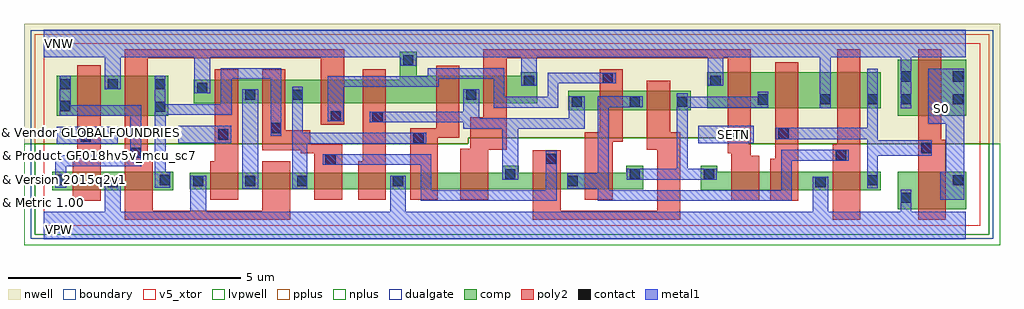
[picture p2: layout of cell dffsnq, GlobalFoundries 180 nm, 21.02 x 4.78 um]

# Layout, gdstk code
import gdstk
lib = gdstk.Library(unit=1e-6, precision=1e-09)
def R(c, l, rs):  # rectangles x0, y0, x1, y1
    for r in rs: c.add(gdstk.rectangle(r[:2], r[2:], *l))
def A(c, l, x, y, w, h, nx, ny, dx, dy):  # array of equal rectangles
    R(c, l, [(x+i*dx, y+j*dy, x+i*dx+w, y+j*dy+h) for i in range(nx) for j in range(ny)])
def P(c, l, *ps):  # polygons
    for p in ps: c.add(gdstk.Polygon(p, *l))
boundary = (0, 0)
nwell = (21, 0)
comp = (22, 0)
poly2 = (30, 0)
pplus = (31, 0)
nplus = (32, 0)
contact = (33, 0)
metal1 = (34, 0)
dualgate = (55, 0)
v5_xtor = (112, 1)
lvpwell = (204, 0)

dffsnq = lib.new_cell('dffsnq')
R(dffsnq, boundary, [(0.695,0.63,20.855,4.55)])
P(dffsnq, nwell, [(0.265,2.39),(0.265,4.98),(21.285,4.98),(21.285,2.39),(15.86,2.39),(15.86,2.515),(9.83,2.515),(9.83,2.39)])
R(dffsnq, comp, [(19.08,0.975,20.56,1.79), (0.875,1.385,3.475,1.79), (0.975,2.99,3.375,3.855), (19.08,2.99,20.56,4.205), (11.99,3.115,14.62,3.53), (14.98,3.15,18.72,3.93)])
P(dffsnq, comp, [(14.84,1.385),(14.84,1.915),(15.2,1.915),(15.2,1.79),(18.72,1.79),(18.72,1.385)],
  [(3.835,1.41),(3.835,1.77),(10.56,1.77),(10.56,1.915),(10.92,1.915),(10.92,1.77),(13.24,1.77),(13.24,1.915),(13.6,1.915),(13.6,1.41)],
  [(3.925,3.265),(3.925,3.77),(8.36,3.77),(8.36,4.37),(8.72,4.37),(8.72,3.85),(10.96,3.85),(10.96,3.93),(11.32,3.93),(11.32,3.265)])
P(dffsnq, poly2, [(19.52,0.75),(19.52,4.43),(20.02,4.43),(20.02,3.09),(20.02,2.48),(20.12,2.48),(20.12,0.75)],
  [(17.68,0.75),(17.68,2.385),(17.78,2.385),(17.78,4.43),(18.28,4.43),(18.28,0.75)],
  [(16.34,1.165),(16.34,2.07),(16.44,2.07),(16.44,4.15),(16.94,4.15),(16.94,1.165)],
  [(15.5,1.165),(15.5,2.185),(15.42,2.185),(15.42,4.23),(10.66,4.23),(10.66,2.265),(10.26,2.265),(10.26,1.19),(9.66,1.19),(9.66,2.285),(9.88,2.285),(9.88,2.965),(10.16,2.965),(10.16,4.43),(15.92,4.43),(15.92,2.135),(16.1,2.135),(16.1,1.165)],
  [(11.22,0.75),(11.22,2.25),(11.82,2.25),(11.82,0.95),(13.9,0.95),(13.9,2.265),(13.68,2.265),(13.68,3.75),(14.18,3.75),(14.18,2.635),(14.4,2.635),(14.4,0.75)],
  [(12.34,1.19),(12.34,2.635),(12.66,2.635),(12.66,3.99),(13.16,3.99),(13.16,2.435),(12.94,2.435),(12.94,1.19)],
  [(8.58,1.19),(8.58,2.725),(9.14,2.725),(9.14,4.07),(9.64,4.07),(9.64,2.525),(9.18,2.525),(9.18,1.19)],
  [(7.46,1.19),(7.46,2.01),(7.56,2.01),(7.56,3.99),(8.06,3.99),(8.06,1.19)],
  [(2.435,0.75),(2.435,4.43),(7.16,4.43),(7.16,2.805),(6.66,2.805),(6.66,4.23),(2.935,4.23),(2.935,2.01),(3.035,2.01),(3.035,0.95),(5.395,0.95),(5.395,2.01),(5.995,2.01),(5.995,0.75)],
  [(6.515,1.19),(6.515,2.185),(6.23,2.185),(6.23,2.25),(5.395,2.25),(5.395,3.99),(5.895,3.99),(5.895,2.68),(6.43,2.68),(6.43,2.385),(7.115,2.385),(7.115,1.19)],
  [(4.275,1.19),(4.275,2.01),(4.375,2.01),(4.375,3.99),(4.875,3.99),(4.875,1.19)],
  [(1.315,1.165),(1.315,2.01),(1.415,2.01),(1.415,4.08),(1.915,4.08),(1.915,1.165)])
P(dffsnq, pplus, [(0.495,2.39),(0.495,4.75),(21.055,4.75),(21.055,2.39),(15.86,2.39),(15.86,2.515),(9.83,2.515),(9.83,2.39)])
P(dffsnq, nplus, [(0.495,0.43),(0.495,2.39),(9.83,2.39),(9.83,2.515),(15.86,2.515),(15.86,2.39),(21.055,2.39),(21.055,0.43)])
A(dffsnq, contact, 3.905, 1.48, 0.22, 0.22, 3, 1, 1.12, 0)
A(dffsnq, contact, 1.045, 3.565, 0.22, 0.22, 3, 1, 1.02, 0)
R(dffsnq, contact, [(19.15,1.115,19.37,1.335), (2.065,1.455,2.285,1.675), (17.31,1.455,17.53,1.675), (8.21,1.48,8.43,1.7), (11.97,1.48,12.19,1.7), (18.43,1.495,18.65,1.715), (20.27,1.495,20.49,1.715), (0.945,1.5,1.165,1.72), (3.185,1.5,3.405,1.72), (10.63,1.625,10.85,1.845), (13.31,1.625,13.53,1.845), (14.91,1.625,15.13,1.845), (6.755,1.94,6.975,2.16), (11.51,1.96,11.73,2.18), (17.75,2.035,17.97,2.255), (2.56,2.085,2.78,2.305), (19.59,2.19,19.81,2.41), (8.65,2.4,8.87,2.62), (1.485,2.435,1.705,2.655), (4.445,2.48,4.665,2.7), (15.49,2.48,15.71,2.7), (16.51,2.5,16.73,2.72), (5.585,2.62,5.805,2.84), (7.77,2.86,7.99,3.08), (6.87,2.875,7.09,3.095), (3.085,3.075,3.305,3.295), (1.045,3.095,1.265,3.315), (12.06,3.185,12.28,3.405), (13.31,3.185,13.53,3.405), (14.33,3.185,14.55,3.405), (16.07,3.235,16.29,3.455), (17.41,3.24,17.63,3.46), (18.43,3.24,18.65,3.46), (19.15,3.24,19.37,3.46), (20.27,3.24,20.49,3.46), (5.025,3.335,5.245,3.555), (6.045,3.335,6.265,3.555), (9.79,3.335,10.01,3.555), (3.995,3.48,4.215,3.7), (11.03,3.64,11.25,3.86), (15.05,3.64,15.27,3.86), (12.73,3.7,12.95,3.92), (19.15,3.73,19.37,3.95), (20.27,3.73,20.49,3.95), (8.43,4.08,8.65,4.3)])
R(dffsnq, metal1, [(4.965,1.42,5.305,3.56), (0.975,2.395,2.285,2.76), (3.585,2.4,4.725,2.78), (14.785,2.4,15.98,2.78)])
P(dffsnq, metal1, [(17.405,3.16),(17.405,4.25),(15.33,4.25),(15.33,3.635),(14.99,3.635),(14.99,4.25),(11.31,4.25),(11.31,3.635),(10.97,3.635),(10.97,4.25),(8.71,4.25),(8.71,4.075),(8.37,4.075),(8.37,4.25),(4.275,4.25),(4.275,3.475),(3.935,3.475),(3.935,4.25),(2.345,4.25),(2.345,3.56),(2.005,3.56),(2.005,4.25),(0.695,4.25),(0.695,4.85),(20.55,4.85),(20.55,4.25),(19.375,4.25),(19.375,3.16),(19.145,3.16),(19.145,4.25),(17.635,4.25),(17.635,3.16)],
  [(0.695,0.33),(0.695,0.93),(2.005,0.93),(2.005,1.68),(2.345,1.68),(2.345,0.93),(3.845,0.93),(3.845,1.705),(4.185,1.705),(4.185,0.93),(8.15,0.93),(8.15,1.705),(8.49,1.705),(8.49,0.93),(17.25,0.93),(17.25,1.68),(17.59,1.68),(17.59,0.93),(19.145,0.93),(19.145,1.395),(19.375,1.395),(19.375,0.93),(20.55,0.93),(20.55,0.33)],
  [(19.995,1.18),(19.995,1.79),(20.12,1.79),(20.12,2.82),(19.74,2.82),(19.74,4.01),(20.51,4.01),(20.51,1.18)],
  [(18.425,1.435),(18.425,2.49),(16.45,2.49),(16.45,2.735),(18.425,2.735),(18.425,4.01),(18.655,4.01),(18.655,2.47),(19.815,2.47),(19.815,2.13),(18.655,2.13),(18.655,1.435)],
  [(12.625,1.16),(12.625,1.42),(11.965,1.42),(11.965,1.76),(12.625,1.76),(12.625,3.41),(13.59,3.41),(13.59,3.18),(12.855,3.18),(12.855,1.39),(16.575,1.39),(16.575,2.26),(18.03,2.26),(18.03,2.025),(16.805,2.025),(16.805,1.16)],
  [(13.25,1.62),(13.25,1.85),(14.325,1.85),(14.325,3.475),(14.555,3.475),(14.555,3.405),(16.065,3.405),(16.065,3.515),(16.295,3.515),(16.295,3.17),(14.555,3.17),(14.555,1.85),(15.19,1.85),(15.19,1.62)],
  [(6.81,2.87),(6.81,3.845),(8.965,3.845),(8.965,4.02),(10.61,4.02),(10.61,3.405),(11.54,3.405),(11.54,3.925),(13.01,3.925),(13.01,3.695),(11.77,3.695),(11.77,3.17),(10.38,3.17),(10.38,3.79),(9.195,3.79),(9.195,3.615),(7.15,3.615),(7.15,2.87)],
  [(10.57,1.62),(10.57,2.71),(9.73,2.71),(9.73,2.855),(7.71,2.855),(7.71,3.085),(9.73,3.085),(9.73,3.56),(10.07,3.56),(10.07,2.94),(12,2.94),(12,3.41),(12.34,3.41),(12.34,2.71),(10.91,2.71),(10.91,1.62)],
  [(8.805,1.16),(8.805,1.935),(6.695,1.935),(6.695,2.165),(9.035,2.165),(9.035,1.39),(11.505,1.39),(11.505,2.245),(11.735,2.245),(11.735,1.16)],
  [(6.04,1.42),(6.04,3.615),(6.27,3.615),(6.27,2.625),(8.93,2.625),(8.93,2.395),(6.37,2.395),(6.37,1.42)],
  [(3.08,1.44),(3.08,3.855),(3.31,3.855),(3.31,3.245),(4.505,3.245),(4.505,4.02),(5.81,4.02),(5.81,2.56),(5.58,2.56),(5.58,3.79),(4.735,3.79),(4.735,3.01),(3.315,3.01),(3.315,1.78),(3.41,1.78),(3.41,1.44)],
  [(0.94,1.44),(0.94,2.14),(2.555,2.14),(2.555,2.99),(1.04,2.99),(1.04,3.855),(1.27,3.855),(1.27,3.225),(2.785,3.225),(2.785,1.91),(1.17,1.91),(1.17,1.44)])
R(dffsnq, dualgate, [(0.415,0.35,21.135,4.83)])
R(dffsnq, v5_xtor, [(0.695,0.63,20.855,4.55)])
P(dffsnq, lvpwell, [(0.265,0.2),(0.265,2.39),(9.83,2.39),(9.83,2.515),(15.86,2.515),(15.86,2.39),(21.285,2.39),(21.285,0.2)])
dffsnq.add(gdstk.Label('& Metric 1.00', (0.695,1.13), layer=63, texttype=63))
dffsnq.add(gdstk.Label('& Version 2015q2v1', (0.695,1.63), layer=63, texttype=63))
dffsnq.add(gdstk.Label('& Product GF018hv5v_mcu_sc7', (0.695,2.13), layer=63, texttype=63))
dffsnq.add(gdstk.Label('& Vendor GLOBALFOUNDRIES', (0.695,2.63), layer=63, texttype=63))
dffsnq.add(gdstk.Label('S0', (20.015,3.15), layer=34, texttype=10))
dffsnq.add(gdstk.Label('SETN', (15.535,2.59), layer=34, texttype=10))
dffsnq.add(gdstk.Label('CLK', (1.535,2.59), layer=34, texttype=10))
dffsnq.add(gdstk.Label('VNW', (1.04,4.55), layer=21, texttype=10))
dffsnq.add(gdstk.Label('VPW', (1.035,0.545), layer=204, texttype=10))

lib.write_gds('dffsnq.gds')
